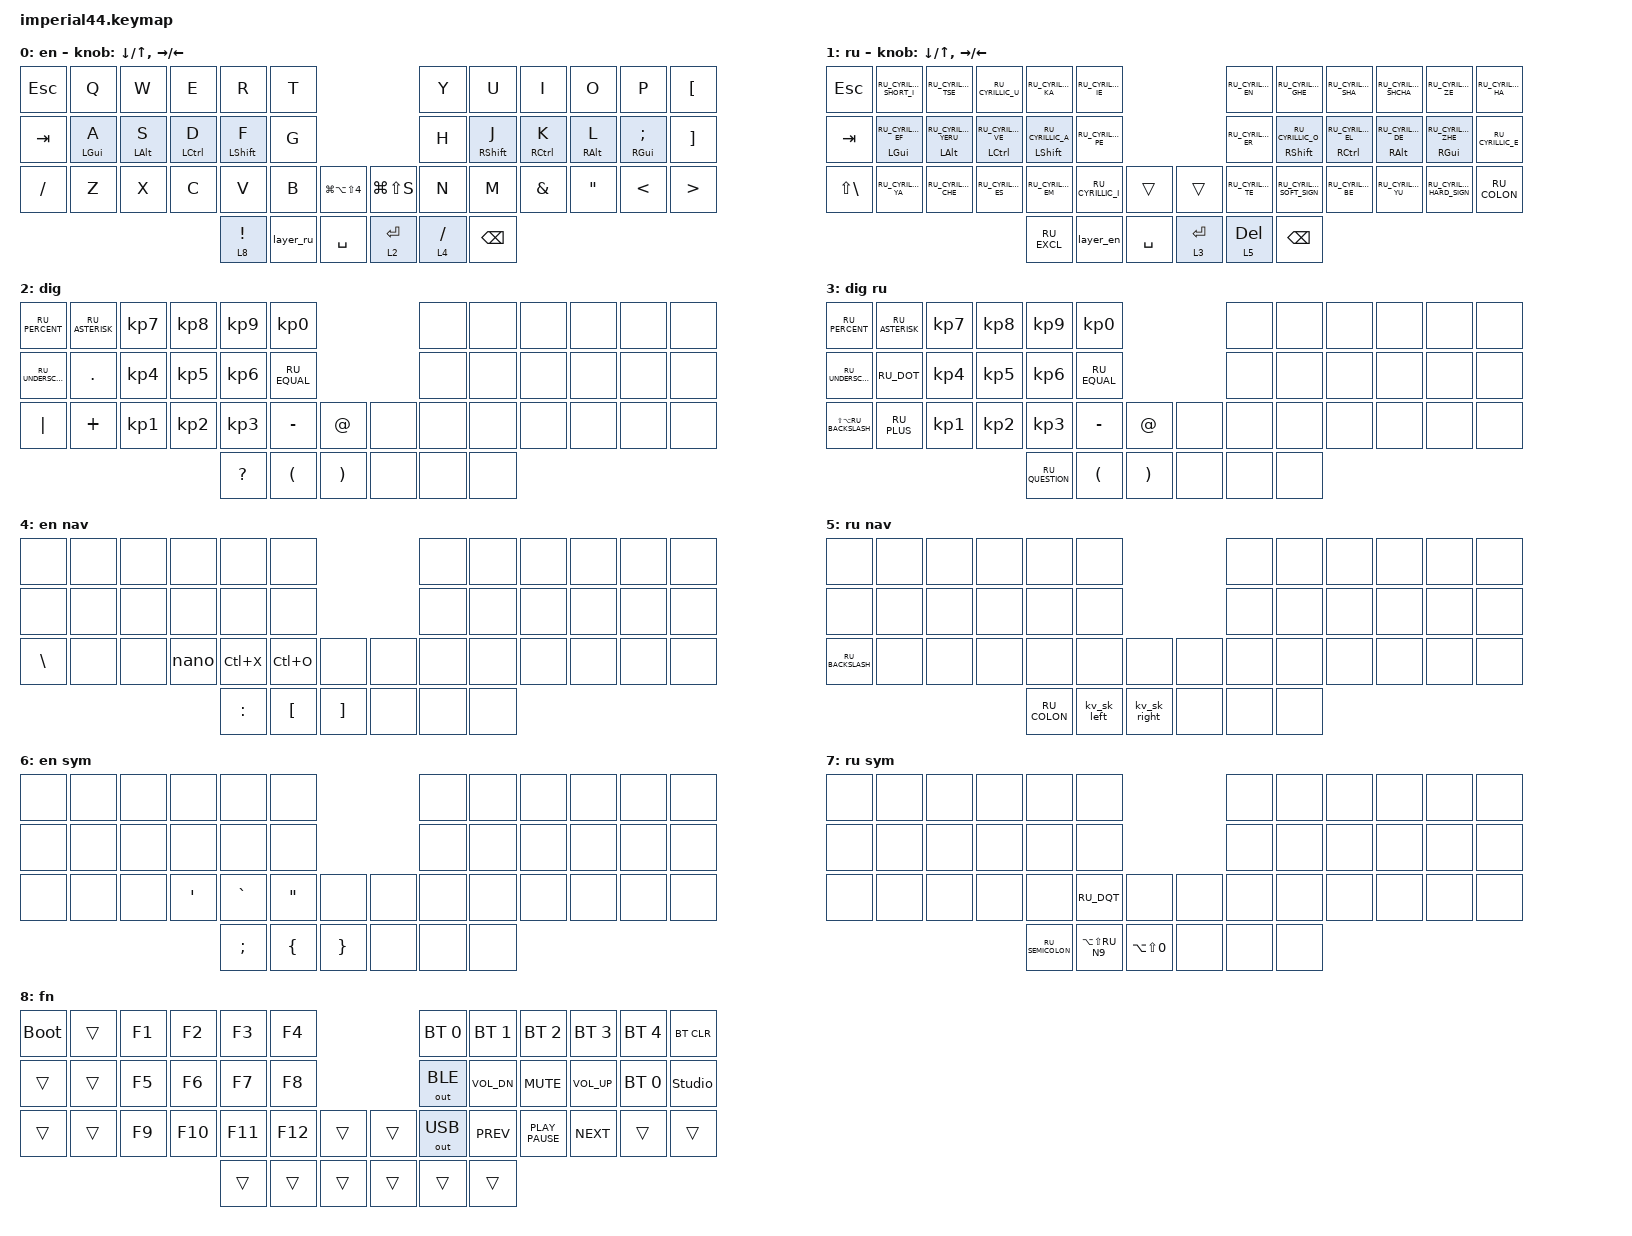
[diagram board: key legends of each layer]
#include "keys_ru.h"
#include <behaviors.dtsi>
#include <dt-bindings/zmk/bt.h>
#include <dt-bindings/zmk/keys.h>
#include <dt-bindings/zmk/outputs.h>

&mt {
    quick-tap-ms = <200>;
    require-prior-idle-ms = <150>;
    flavor = "tap-preferred";
};

/ {
    combos {
        compatible = "zmk,combos";

        yooo {
            bindings = <&kp RU_CYRILLIC_IO>;
            key-positions = <5 4>;
            layers = <1>;
        };

        rouble {
            bindings = <&kp RU_RUBLE>;
            key-positions = <18 19>;
            layers = <1>;
        };

        tochka {
            bindings = <&kp RU_DOT>;
            key-positions = <19 20>;
            layers = <1>;
        };

        zpt {
            bindings = <&kp RU_COMMA>;
            key-positions = <16 15>;
            layers = <1>;
        };

        reshetka_ru {
            bindings = <&kp LA(NUMBER_3)>;
            key-positions = <16 17>;
            layers = <1>;
        };

        sobaka {
            bindings = <&kp LA(NUMBER_2)>;
            key-positions = <12 13>;
            layers = <1>;
        };

        hardsign {
            bindings = <&kp RU_CYRILLIC_HARD_SIGN>;
            key-positions = <33 34>;
            layers = <1>;
        };

        reshetka_en {
            bindings = <&kp HASH>;
            key-positions = <17 16>;
            layers = <0>;
        };

        endot {
            bindings = <&kp DOT>;
            key-positions = <19 20>;
            layers = <0>;
        };

        enzpt {
            bindings = <&kp COMMA>;
            key-positions = <15 16>;
            layers = <0>;
        };

        pr {
            bindings = <&prisv>;
            key-positions = <28 27>;
            layers = <0>;
        };

        layer6 {
            bindings = <&sl 6>;
            key-positions = <41 42>;
            layers = <0>;
        };

        layer7 {
            bindings = <&sl 7>;
            key-positions = <41 42>;
            layers = <1>;
        };

        dot-zpt {
            bindings = <&kp RU_SEMICOLON>;
            key-positions = <37 36>;
        };
    };

    behaviors {
        hml: home_row_mode_left {
            compatible = "zmk,behavior-hold-tap";
            label = "HML";
            bindings = <&kp>, <&kp>;

            #binding-cells = <2>;
            tapping-term-ms = <280>;
            quick-tap-ms = <175>;
            require-prior-idle-ms = <150>;
            flavor = "balanced";
            hold-trigger-on-release;
            hold-trigger-key-positions = <31 41 6 7 8 9 10 11 18 19 20 21 22 23 32 33 34 35 36 37 42 43>;
        };

        hmr: home_mod_row_right {
            compatible = "zmk,behavior-hold-tap";
            label = "HMR";
            bindings = <&kp>, <&kp>;

            #binding-cells = <2>;
            tapping-term-ms = <280>;
            quick-tap-ms = <175>;
            require-prior-idle-ms = <150>;
            flavor = "balanced";
            hold-trigger-on-release;
            hold-trigger-key-positions = <0 1 2 3 4 5 12 13 14 15 16 17 24 25 26 27 28 29 30 38 39 40>;
        };
    };

    macros {
        to_ru: to_ru {
            compatible = "zmk,behavior-macro";
            #binding-cells = <0>;
            bindings = <&kp LC(LS(NUMBER_2)) &kp LC(LS(NUMBER_4))>;
            label = "TO_RU";
            tap-ms = <30>;
            wait-ms = <0>;
        };

        to_en: to_en {
            compatible = "zmk,behavior-macro";
            #binding-cells = <0>;
            bindings = <&kp LS(LC(N1)) &kp LC(LS(NUMBER_3))>;
            label = "TO_EN";
            wait-ms = <0>;
            tap-ms = <30>;
        };

        layer_en: layer_en {
            compatible = "zmk,behavior-macro";
            #binding-cells = <0>;
            bindings = <&to 0 &to_en>;
            label = "LAYER_EN";
            wait-ms = <0>;
            tap-ms = <30>;
        };

        layer_ru: layer_ru {
            compatible = "zmk,behavior-macro";
            #binding-cells = <0>;
            bindings = <&to 1 &to_ru>;
            label = "LAYER_RU";
            wait-ms = <0>;
            tap-ms = <30>;
        };

        kv_sk_left: kv_sk_left {
            compatible = "zmk,behavior-macro";
            #binding-cells = <0>;
            bindings = <&to_en &kp LEFT_BRACKET &to_ru>;
            label = "KV_SK_LEFT";
        };

        kv_sk_right: kv_sk_right {
            compatible = "zmk,behavior-macro";
            #binding-cells = <0>;
            bindings = <&to_en &kp RIGHT_BRACKET &to_ru>;
            label = "KV_SK_RIGHT";
        };

        win_en: win_en {
            compatible = "zmk,behavior-macro";
            #binding-cells = <0>;
            bindings = <&to 0 &to_en_win>;
            label = "WIN_EN";
            wait-ms = <0>;
            tap-ms = <30>;
        };

        win_ru: win_ru {
            compatible = "zmk,behavior-macro";
            #binding-cells = <0>;
            bindings = <&to 1 &to_ru_win>;
            label = "WIN_RU";
            wait-ms = <0>;
            tap-ms = <30>;
        };

        to_ru_win: to_ru_win {
            compatible = "zmk,behavior-macro";
            #binding-cells = <0>;
            bindings = <&kp LA(LS(NUMBER_2))>;
            label = "TO_RU_WIN";
            tap-ms = <30>;
            wait-ms = <0>;
        };

        to_en_win: to_en_win {
            compatible = "zmk,behavior-macro";
            #binding-cells = <0>;
            bindings = <&kp LA(LS(N1))>;
            label = "TO_EN_WIN";
            wait-ms = <0>;
            tap-ms = <30>;
        };

        nano: nano {
            compatible = "zmk,behavior-macro";
            #binding-cells = <0>;
            bindings = <&kp N &kp A &kp N &kp O &kp SPACE>;
            label = "NANO";
        };

        prisv: prisv {
            compatible = "zmk,behavior-macro";
            #binding-cells = <0>;
            bindings = <&none &kp SPACE &kp COLON &kp EQUAL &kp SPACE>;
            label = "PRISV";
        };
    };

    keymap {
        compatible = "zmk,keymap";

        en {
            bindings = <
&kp ESC   &kp Q            &kp W            &kp E         &kp R              &kp T                                                 &kp Y       &kp U               &kp I          &kp O             &kp P                &kp LEFT_BRACKET
&kp TAB   &hml LEFT_GUI A  &hml LEFT_ALT S  &hml LCTRL D  &hml LEFT_SHIFT F  &kp G                                                 &kp H       &hmr RIGHT_SHIFT J  &hmr RCTRL K   &hmr RIGHT_ALT L  &hmr RIGHT_GUI SEMI  &kp RIGHT_BRACKET
&kp FSLH  &kp Z            &kp X            &kp C         &kp V              &kp B      &kp LG(LA(LS(NUMBER_4)))    &kp LG(LS(S))  &kp N       &kp M               &kp AMPERSAND  &kp DQT           &kp LESS_THAN        &kp GREATER_THAN
                                                          &lt 8 EXCL         &layer_ru  &kp SPACE                   &lt 2 ENTER    &lt 4 FSLH  &kp BACKSPACE
            >;

            display-name = "en";
            label = "en";
            sensor-bindings =
                <&inc_dec_kp DOWN_ARROW UP>,
                <&inc_dec_kp RIGHT_ARROW LEFT_ARROW>;
        };

        ru {
            bindings = <
&kp ESC       &kp RU_CYRILLIC_SHORT_I       &kp RU_CYRILLIC_TSE             &kp RU_CYRILLIC_U                 &kp RU_CYRILLIC_KA             &kp RU_CYRILLIC_IE                            &kp RU_CYRILLIC_EN  &kp RU_CYRILLIC_GHE             &kp RU_CYRILLIC_SHA                &kp RU_CYRILLIC_SHCHA          &kp RU_CYRILLIC_ZE              &kp RU_CYRILLIC_HA
&kp TAB       &hml LEFT_GUI RU_CYRILLIC_EF  &hml LEFT_ALT RU_CYRILLIC_YERU  &hml LEFT_CONTROL RU_CYRILLIC_VE  &hml LEFT_SHIFT RU_CYRILLIC_A  &kp RU_CYRILLIC_PE                            &kp RU_CYRILLIC_ER  &hmr RIGHT_SHIFT RU_CYRILLIC_O  &hmr RIGHT_CONTROL RU_CYRILLIC_EL  &hmr RIGHT_ALT RU_CYRILLIC_DE  &hmr RIGHT_GUI RU_CYRILLIC_ZHE  &kp RU_CYRILLIC_E
&kp LS(BSLH)  &kp RU_CYRILLIC_YA            &kp RU_CYRILLIC_CHE             &kp RU_CYRILLIC_ES                &kp RU_CYRILLIC_EM             &kp RU_CYRILLIC_I   &trans       &trans       &kp RU_CYRILLIC_TE  &kp RU_CYRILLIC_SOFT_SIGN       &kp RU_CYRILLIC_BE                 &kp RU_CYRILLIC_YU             &kp RU_CYRILLIC_HARD_SIGN       &kp RU_COLON
                                                                                                              &kp RU_EXCL                    &layer_en           &kp SPACE    &lt 3 ENTER  &lt 5 DELETE        &kp BACKSPACE
            >;

            display-name = "ru    ";
            label = "ru";
            sensor-bindings =
                <&inc_dec_kp DOWN_ARROW UP_ARROW>,
                <&inc_dec_kp RIGHT_ARROW LEFT_ARROW>;
        };

        dig {
            bindings = <
&kp RU_PERCENT     &kp RU_ASTERISK  &kp KP_NUMBER_7  &kp KP_NUMBER_8  &kp KP_NUMBER_9  &kp KP_NUMBER_0                        &none  &none  &none  &none  &none  &none
&kp RU_UNDERSCORE  &kp DOT          &kp KP_NUMBER_4  &kp KP_NUMBER_5  &kp KP_NUMBER_6  &kp RU_EQUAL                           &none  &none  &none  &none  &none  &none
&kp PIPE           &kp PLUS         &kp KP_NUMBER_1  &kp KP_NUMBER_2  &kp KP_NUMBER_3  &kp MINUS        &kp AT_SIGN    &none  &none  &none  &none  &none  &none  &none
                                                                      &kp QMARK        &kp LPAR         &kp RPAR       &none  &none  &none
            >;

            display-name = "dig";
            label = "dig";
        };

        digru {
            label = "dig ru";
            display-name = "dig ru";
            bindings = <
&kp RU_PERCENT            &kp RU_ASTERISK  &kp KP_NUMBER_7  &kp KP_NUMBER_8  &kp KP_NUMBER_9  &kp KP_NUMBER_0                        &none  &none  &none  &none  &none  &none
&kp RU_UNDERSCORE         &kp RU_DOT       &kp KP_NUMBER_4  &kp KP_NUMBER_5  &kp KP_NUMBER_6  &kp RU_EQUAL                           &none  &none  &none  &none  &none  &none
&kp LS(LA(RU_BACKSLASH))  &kp RU_PLUS      &kp KP_NUMBER_1  &kp KP_NUMBER_2  &kp KP_NUMBER_3  &kp MINUS        &kp AT_SIGN    &none  &none  &none  &none  &none  &none  &none
                                                                             &kp RU_QUESTION  &kp LPAR         &kp RPAR       &none  &none  &none
            >;
        };

        nav {
            bindings = <
&none     &none  &none  &none  &none      &none                                         &none  &none  &none  &none  &none  &none
&none     &none  &none  &none  &none      &none                                         &none  &none  &none  &none  &none  &none
&kp BSLH  &none  &none  &nano  &kp LC(X)  &kp LC(O)         &none                &none  &none  &none  &none  &none  &none  &none
                               &kp COLON  &kp LEFT_BRACKET  &kp RIGHT_BRACKET    &none  &none  &none
            >;

            display-name = "en nav";
            label = "nav";
        };

        navru {
            label = "ru nav";
            display-name = "ru nav";
            bindings = <
&none             &none  &none  &none  &none         &none                               &none  &none  &none  &none  &none  &none
&none             &none  &none  &none  &none         &none                               &none  &none  &none  &none  &none  &none
&kp RU_BACKSLASH  &none  &none  &none  &none         &none        &none           &none  &none  &none  &none  &none  &none  &none
                                       &kp RU_COLON  &kv_sk_left  &kv_sk_right    &none  &none  &none
            >;
        };

        sym {
            bindings = <
&none  &none  &none  &none             &none      &none                                        &none  &none  &none  &none  &none  &none
&none  &none  &none  &none             &none      &none                                        &none  &none  &none  &none  &none  &none
&none  &none  &none  &kp SINGLE_QUOTE  &kp GRAVE  &kp DOUBLE_QUOTES  &none              &none  &none  &none  &none  &none  &none  &none
                                       &kp SEMI   &kp LEFT_BRACE     &kp RIGHT_BRACE    &none  &none  &none
            >;

            display-name = "en sym";
            label = "sym";
        };

        symru {
            label = "ru sym";
            display-name = "ru sym";
            bindings = <
&none  &none  &none  &none  &none             &none                                       &none  &none  &none  &none  &none  &none
&none  &none  &none  &none  &none             &none                                       &none  &none  &none  &none  &none  &none
&none  &none  &none  &none  &none             &kp RU_DQT         &none             &none  &none  &none  &none  &none  &none  &none
                            &kp RU_SEMICOLON  &kp LA(LS(RU_N9))  &kp LA(LS(N0))    &none  &none  &none
            >;
        };

        fun {
            bindings = <
&bootloader  &trans  &kp F1  &kp F2   &kp F3   &kp F4                     &bt BT_SEL 0  &bt BT_SEL 1  &bt BT_SEL 2      &bt BT_SEL 3  &bt BT_SEL 4  &bt BT_CLR
&trans       &trans  &kp F5  &kp F6   &kp F7   &kp F8                     &out OUT_BLE  &kp C_VOL_DN  &kp K_MUTE        &kp C_VOL_UP  &bt BT_SEL 0  &studio_unlock
&trans       &trans  &kp F9  &kp F10  &kp F11  &kp F12  &trans    &trans  &out OUT_USB  &kp K_PREV    &kp K_PLAY_PAUSE  &kp K_NEXT    &trans        &trans
                                      &trans   &trans   &trans    &trans  &trans        &trans
            >;

            display-name = "fn";
            label = "fn";
        };
    };
};
